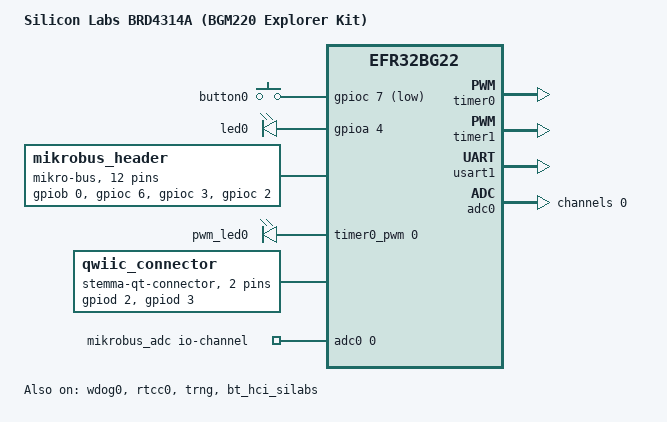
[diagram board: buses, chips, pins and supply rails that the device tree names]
/*
 * Copyright The Zephyr Project Contributors
 *
 * SPDX-License-Identifier: Apache-2.0
 */

/dts-v1/;
#include <silabs/xg22/bgm220pc22hna.dtsi>
#include <dt-bindings/adc/silabs-adc.h>
#include <zephyr/dt-bindings/input/input-event-codes.h>
#include <zephyr/dt-bindings/pwm/pwm.h>
#include <zephyr/dt-bindings/regulator/silabs_dcdc.h>
#include "bgm220_ek4314a-pinctrl.dtsi"

/ {
	model = "Silicon Labs BRD4314A (BGM220 Explorer Kit)";
	compatible = "silabs,bgm220_ek4314a", "silabs,efr32bg22";

	chosen {
		zephyr,bt-hci = &bt_hci_silabs;
		zephyr,code-partition = &slot0_partition;
		zephyr,console = &usart1;
		zephyr,flash = &flash0;
		zephyr,shell-uart = &usart1;
		zephyr,sram = &sram0;
		zephyr,uart-pipe = &usart1;
	};

	aliases {
		led0 = &led0;
		pwm-led0 = &pwm_led0;
		sw0 = &button0;
		watchdog0 = &wdog0;

		/* If enabled, MCUboot uses this for recovery mode entrance */
		mcuboot-led0 = &led0;
		mcuboot-button0 = &button0;
	};

	buttons {
		compatible = "gpio-keys";

		button0: button_0 {
			gpios = <&gpioc 7 GPIO_ACTIVE_LOW>;
			zephyr,code = <INPUT_KEY_0>;
		};
	};

	leds {
		compatible = "gpio-leds";

		led0: led_0 {
			gpios = <&gpioa 4 GPIO_ACTIVE_HIGH>;
		};
	};

	mikrobus_header: mikrobus-connector {
		compatible = "mikro-bus";
		#gpio-cells = <2>;
		gpio-map-mask = <0xffffffff 0>;
		gpio-map-pass-thru = <0 GPIO_DT_FLAGS_MASK>;
		gpio-map = <0 0 &gpiob 0 0>,  /* AN   */
			   <1 0 &gpioc 6 0>,  /* RST  */
			   <2 0 &gpioc 3 0>,  /* CS   */
			   <3 0 &gpioc 2 0>,  /* SCK  */
			   <4 0 &gpioc 1 0>,  /* MISO */
			   <5 0 &gpioc 0 0>,  /* MOSI */
			   <6 0 &gpiob 4 0>,  /* PWM  */
			   <7 0 &gpiob 3 0>,  /* INT  */
			   <8 0 &gpiob 2 0>,  /* RX   */
			   <9 0 &gpiob 1 0>,  /* TX   */
			   <10 0 &gpiod 2 0>, /* SCL  */
			   <11 0 &gpiod 3 0>; /* SDA  */
	};

	pwmleds {
		compatible = "pwm-leds";

		pwm_led0: pwm_led_0 {
			pwms = <&timer0_pwm 0 PWM_MSEC(20) PWM_POLARITY_NORMAL>;
		};
	};

	qwiic_connector: stemma-qt-connector {
		compatible = "stemma-qt-connector";
		#gpio-cells = <2>;
		gpio-map-mask = <0xffffffff 0>;
		gpio-map-pass-thru = <0 GPIO_DT_FLAGS_MASK>;
		gpio-map = <0 0 &gpiod 2 0>, /* SCL */
			   <1 0 &gpiod 3 0>; /* SDA */
	};

	mikrobus_adc: zephyr,user {
		io-channels = <&adc0 0>;
	};
};

&timer0 {
	status = "okay";

	timer0_pwm: pwm {
		pinctrl-0 = <&timer0_default>;
		pinctrl-names = "default";
		status = "okay";
	};
};


&timer1 {
	status = "okay";

	zephyr_pwm: timer1_pwm: pwm {
		pinctrl-0 = <&timer1_default>;
		pinctrl-names = "default";
		status = "okay";
	};
};

&cpu0 {
	clock-frequency = <76800000>;
};

&itm {
	pinctrl-0 = <&itm_default>;
	pinctrl-names = "default";
	swo-ref-frequency = <DT_FREQ_K(76800)>;
};

&dcdc {
	regulator-boot-on;
	regulator-initial-mode = <SILABS_DCDC_MODE_BUCK>;
	status = "okay";
};

&hfrcodpll {
	clock-frequency = <DT_FREQ_K(76800)>;
	clocks = <&hfxo>;
	dpll-autorecover;
	dpll-edge = "fall";
	dpll-lock = "phase";
	dpll-m = <1919>;
	dpll-n = <3839>;
};

&euart0 {
	pinctrl-0 = <&euart0_default>;
	pinctrl-names = "default";
	status = "disabled";
};

&usart0 {
	pinctrl-0 = <&usart0_default>;
	pinctrl-names = "default";
	status = "disabled";
};

&usart1 {
	pinctrl-0 = <&usart1_default>;
	pinctrl-names = "default";
	status = "okay";
};

&i2c0 {
	pinctrl-0 = <&i2c0_default>;
	pinctrl-names = "default";
	status = "disabled";
};

&wdog0 {
	status = "okay";
};

&gpio {
	status = "okay";
};

&gpioa {
	status = "okay";
};

&gpiob {
	status = "okay";
};

&gpioc {
	status = "okay";
};

&gpiod {
	status = "okay";
};

&rtcc0 {
	status = "okay";
};

&adc0 {
	pinctrl-0 = <&iadc0_default>;
	pinctrl-names = "default";
	#address-cells = <1>;
	#size-cells = <0>;
	status = "okay";

	channel@0 {
		reg = <0>;
		zephyr,acquisition-time = <ADC_ACQ_TIME_DEFAULT>;
		zephyr,gain = "ADC_GAIN_1";
		zephyr,input-positive = <IADC_INPUT_PB0>;
		zephyr,reference = "ADC_REF_VDD_1";
		zephyr,resolution = <12>;
		zephyr,vref-mv = <3300>;
	};
};

&trng {
	status = "okay";
};

&flash0 {
	partitions {
		compatible = "fixed-partitions";
		#address-cells = <1>;
		#size-cells = <1>;

		/* Reserve 48 KiB for the bootloader */
		boot_partition: partition@0 {
			reg = <0x00000000 DT_SIZE_K(48)>;
			label = "mcuboot";
			read-only;
		};

		/* Reserve 224 KiB for the application in slot 0 */
		slot0_partition: partition@c000 {
			reg = <0x0000c000 DT_SIZE_K(224)>;
			label = "image-0";
		};

		/* Reserve 224 KiB for the application in slot 1 */
		slot1_partition: partition@44000 {
			reg = <0x00044000 DT_SIZE_K(224)>;
			label = "image-1";
		};

		/* Set 16 KiB of storage at the end of the 512 KiB of flash */
		storage_partition: partition@7c000 {
			reg = <0x0007c000 DT_SIZE_K(16)>;
			label = "storage";
		};
	};
};

&bt_hci_silabs {
	status = "okay";
};

mikrobus_i2c: &i2c0 {};

mikrobus_spi: &usart0 {};

mikrobus_uart: &euart0 {};

zephyr_i2c: &i2c0 {};

zephyr_spi: &usart0 {};
